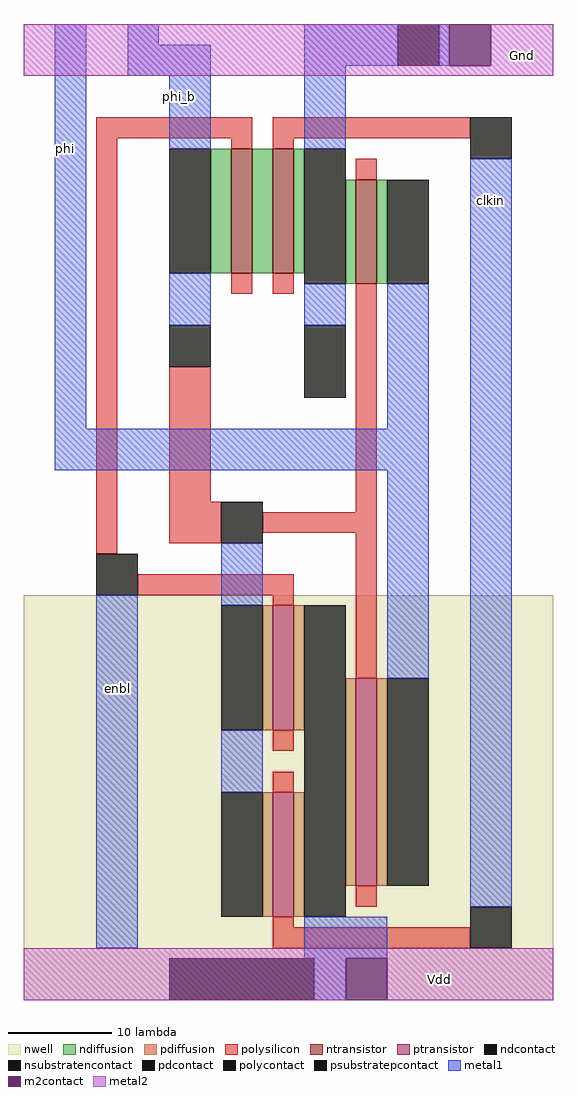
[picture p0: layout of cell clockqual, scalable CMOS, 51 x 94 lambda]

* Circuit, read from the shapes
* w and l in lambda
.subckt clockqual Gnd Vdd clkin enbl phi phi_b
M1 n1 enbl phi_b Gnd nfet w=12 l=2
M2 Gnd clkin n1 Gnd nfet w=12 l=2
M3 phi phi_b Gnd Gnd nfet w=10 l=2
M4 Vdd clkin phi_b Vdd pfet w=12 l=2
M5 Vdd enbl phi_b Vdd pfet w=12 l=2
M6 phi phi_b Vdd Vdd pfet w=20 l=2
.ends

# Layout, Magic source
magic
tech scmos
<< nwell >>
rect 103 -55 154 -16
<< polysilicon >>
rect 110 28 125 30
rect 110 -12 112 28
rect 123 27 125 28
rect 127 28 146 30
rect 127 27 129 28
rect 123 13 125 15
rect 127 13 129 15
rect 135 24 137 26
rect 117 -7 121 6
rect 117 -11 122 -7
rect 135 -8 137 14
rect 126 -10 137 -8
rect 114 -16 129 -14
rect 127 -17 129 -16
rect 127 -31 129 -29
rect 127 -35 129 -33
rect 135 -24 137 -10
rect 135 -46 137 -44
rect 127 -48 129 -47
rect 127 -50 146 -48
<< ndiffusion >>
rect 121 15 123 27
rect 125 15 127 27
rect 129 15 130 27
rect 134 14 135 24
rect 137 14 138 24
<< pdiffusion >>
rect 126 -29 127 -17
rect 129 -29 130 -17
rect 126 -47 127 -35
rect 129 -47 130 -35
rect 134 -44 135 -24
rect 137 -44 138 -24
<< metal1 >>
rect 106 0 109 39
rect 113 37 116 39
rect 113 34 121 37
rect 117 27 121 34
rect 117 10 121 15
rect 130 35 139 39
rect 143 35 144 39
rect 130 27 134 35
rect 130 10 134 14
rect 138 0 142 14
rect 106 -4 142 0
rect 110 -50 114 -16
rect 122 -17 126 -11
rect 122 -35 126 -29
rect 138 -24 142 -4
rect 146 -46 150 26
rect 130 -51 138 -47
rect 131 -55 134 -51
<< metal2 >>
rect 103 35 144 39
rect 148 35 154 39
rect 103 34 154 35
rect 103 -51 154 -50
rect 103 -55 134 -51
rect 138 -55 154 -51
<< ntransistor >>
rect 123 15 125 27
rect 127 15 129 27
rect 135 14 137 24
<< ptransistor >>
rect 127 -29 129 -17
rect 127 -47 129 -35
rect 135 -44 137 -24
<< polycontact >>
rect 146 26 150 30
rect 117 6 121 10
rect 122 -11 126 -7
rect 110 -16 114 -12
rect 146 -50 150 -46
<< ndcontact >>
rect 117 15 121 27
rect 130 14 134 27
rect 138 14 142 24
<< pdcontact >>
rect 122 -29 126 -17
rect 122 -47 126 -35
rect 130 -47 134 -17
rect 138 -44 142 -24
<< m2contact >>
rect 144 35 148 39
rect 134 -55 138 -51
<< psubstratepcontact >>
rect 139 35 143 39
rect 130 3 134 10
<< nsubstratencontact >>
rect 117 -55 131 -51
<< labels >>
rlabel metal2 151 36 151 36 1 Gnd
rlabel metal2 143 -53 143 -53 5 Vdd
rlabel metal1 112 -25 112 -25 5 enbl
rlabel metal1 107 27 107 27 5 phi
rlabel metal1 148 22 148 22 5 clkin
rlabel metal1 118 32 118 32 1 phi_b
<< end >>
